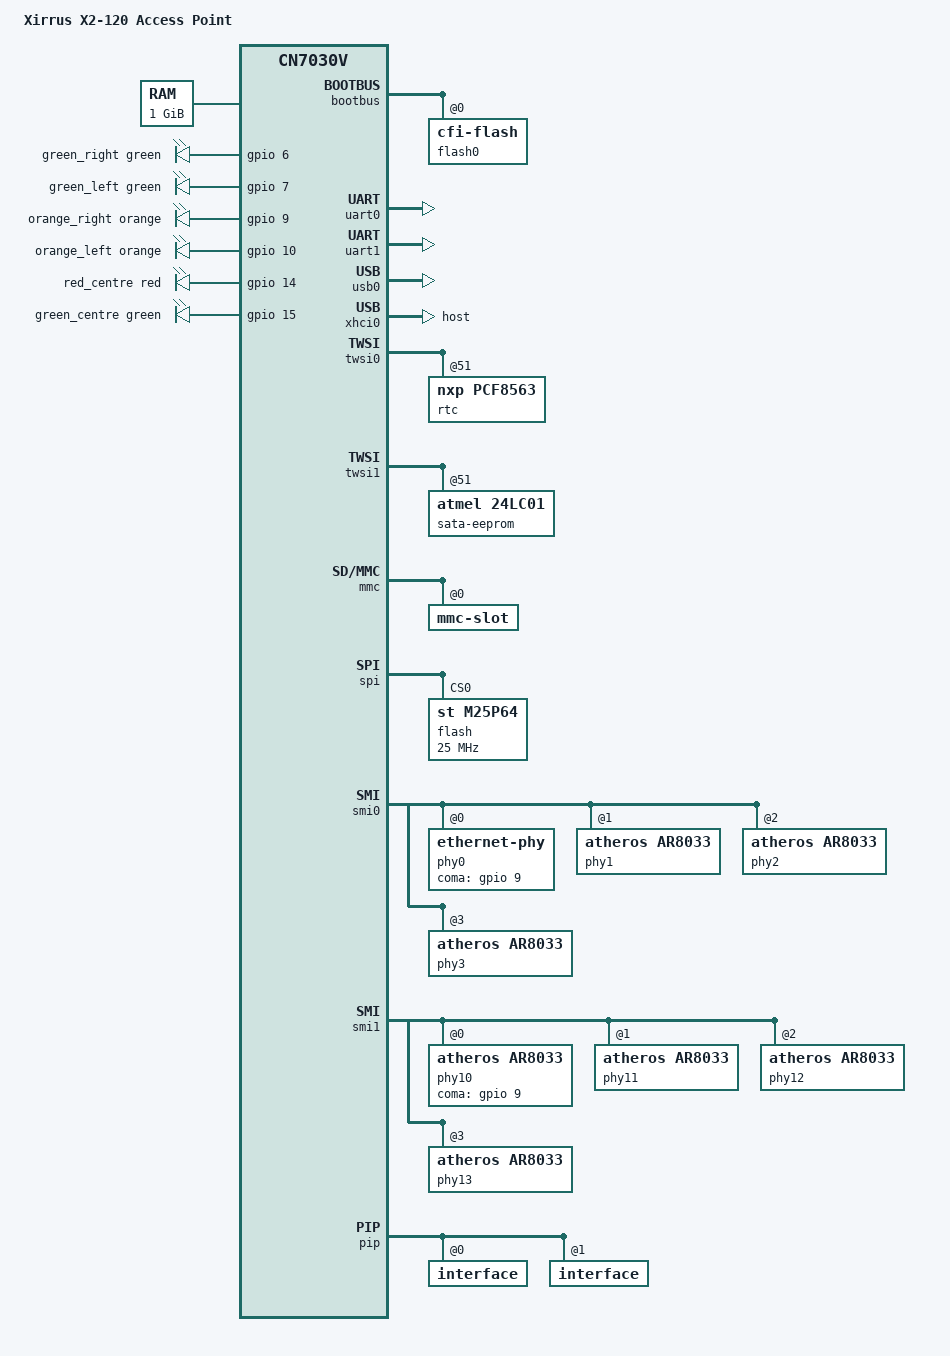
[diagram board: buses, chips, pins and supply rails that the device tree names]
#include "cn71xx.dtsi"

#include <dt-bindings/gpio/gpio.h>
#include <dt-bindings/input/input.h>
#include <dt-bindings/leds/common.h>

/ {
	compatible = "xirrus,x2-120", "cavium,cn7130", "cavium,cn7030v";
	model = "Xirrus X2-120 Access Point";

        memory@0 {
                device_type = "memory";
                reg = <0x0 0x00000000>,
                      <0x0 0x10000000>,
                      <0x0 0x20000000>,
                      <0x0 0x30000000>;
        };

        leds {
		compatible = "gpio-leds";
		status = "okay";

                green_right: led-0 {
                        function = LED_FUNCTION_INDICATOR;
                        color = <LED_COLOR_ID_GREEN>;
                        gpios = <&gpio 6 GPIO_ACTIVE_HIGH>;
			label = "green_right";
                };
                green_left: led-1 {
                        function = LED_FUNCTION_INDICATOR;
                        color = <LED_COLOR_ID_GREEN>;
                        gpios = <&gpio 7 GPIO_ACTIVE_HIGH>;
			label = "green_left";
                };
                orange_right: led-2 {
                        function = LED_FUNCTION_INDICATOR;
                        color = <LED_COLOR_ID_ORANGE>;
                        gpios = <&gpio 9 GPIO_ACTIVE_HIGH>;
			label = "orange_right";
                };
                orange_left: led-3 {
                        function = LED_FUNCTION_INDICATOR;
                        color = <LED_COLOR_ID_ORANGE>;
                        gpios = <&gpio 10 GPIO_ACTIVE_HIGH>;
			label = "orange_left";
                };
                red_centre: led-4 {
                        function = LED_FUNCTION_INDICATOR;
                        color = <LED_COLOR_ID_RED>;
                        gpios = <&gpio 14 GPIO_ACTIVE_HIGH>;
			panic-indicator;
			label = "red_centre";
                };
                green_centre: led-5 {
                        function = LED_FUNCTION_INDICATOR;
                        color = <LED_COLOR_ID_GREEN>;
                        gpios = <&gpio 15 GPIO_ACTIVE_HIGH>;
			linux,default-trigger = "heartbeat";
			label = "green_centre";
                };
        };
};

&bootbus {
	flash0: nor@0,0 {
		compatible = "cfi-flash";
		reg = <0 0 0x800000>;
		#address-cells = <1>;
		#size-cells = <1>;
		/*
		partition@0 {
			label = "bootloader";
			reg = <0 0x200000>;
			read-only;
		};
		partition@200000 {
			label = "kernel";
			reg = <0x200000 0x280000>;
		};
		partition@480000 {
			label = "cramfs";
			reg = <0x400000 0x370000>;
		};
		partition@7f0000 {
			label = "environment";
			reg = <0x7f0000 0x10000>;
			read-only;
		};
		*/
	};
};

&uart0 {
        status = "okay";
};
// not sure if anything is connected to uart1, but the bluetooth radio has to be somewhere....
&uart1 {
	status = "okay";
};

// testing if usb works at all despite there being no accessible usb port
&usb0 {
	status = "okay";
};
&xhci0 {
	status = "okay";
	dr_mode = "host";
};

&twsi0 {
	status = "okay";
	rtc@51 {
		compatible = "nxp,pcf8563";
		reg = <0x51>;
		// FIXME: find gpio pins for any interrupts
	};
};

&twsi1 {
	status = "okay";
	sata-eeprom@51 {
		compatible = "atmel,24lc01";
		reg = <0x51>;
		pagesize = <8>;
	};
};

&mmc {
        status = "okay";

        mmc-slot@0 {
                compatible = "mmc-slot";
                reg = <0>;
                non-removable;
                max-frequency = <26000000>;
                voltage-ranges = <3300 3300>;
                bus-width = <8>;
        };
};

&spi {
	status = "okay";

	flash@0 {
		// FIXME: "Unknown JEDEC bytes"
		#address-cells = <1>;
		#size-cells = <1>;
		compatible = "st,m25p64","spi-flash";
		reg = <0>;
		spi-max-frequency = <25000000>;

		//pagesize = <256>;
		//size = <0x800000>;
		//address-width = <24>;

		/* FIXME!
		partitions {
			compatible = "fixed-partitions";
			#address-cells = <1>;
			#size-cells = <1>;

			partition@0 {
				label = "uboot";
				read-only;
				reg = <0x000000 0x300000>; // 3MB? need to reverse-engineer the partitions
			}
		};
		*/
	};
};

// the following is kinda a guess
// however once booted with this I could determine that there's a phy at dev 1 on mdio bus 0
// and then a second phy at dev 2 on mdio bus 1
// with only the eth0 plugged in, it appears 0-1 is eth0 (it shows the link as up)
// and 1-2 is eth1 (link is down, which it should be due to no link connected)
// so let's see if giving access to all the phys, and then mapping them later on works
// through luck the first phy is connected to pin 6 as an interrupt (the xirrus xarray dts I looked at
// had the second phy connected to pin 6 and the first to 5, but swapping those around got traffic flowing
// on eth0).
// eth1 is untested
// we're getting an oops that interrupt 28 is ignored, which appears to be the mdio bus of the first phy
&smi0 {
	status = "okay";
	phy0: ethernet-phy@0 {
		cavium,qlm-trim = "0,sgmii";
		device_type = "ethernet-phy";
		reg = <0>;
                //interrupt-parent = <&gpio>;
		//interrupts = <6 8>;     /* pin 6, active low */
		coma = <&gpio 9 0>;     /* pin 9, not inverted */
	};
	phy1: ethernet-phy@1 {
		compatible = "atheros,ar8033", "ethernet-phy-ieee802.3-c22";
		device_type = "ethernet-phy";
		reg = <1>;
		//interrupt-parent = <&gpio>;
		//interrupts = <6 8>;     /* pin 6, active low */
	};
	phy2: ethernet-phy@2 {
		compatible = "atheros,ar8033", "ethernet-phy-ieee802.3-c22";
		device_type = "ethernet-phy";
		reg = <2>;
		//interrupt-parent = <&gpio>;
		//interrupts = <6 8>;     /* pin 6, active low */
	};
	phy3: ethernet-phy@3 {
		compatible = "atheros,ar8033", "ethernet-phy-ieee802.3-c22";
		device_type = "ethernet-phy";
		reg = <3>;
		//interrupt-parent = <&gpio>;
		//interrupts = <6 8>;     /* pin 6, active low */
	};
};

&smi1 {
	status = "okay";
	phy10: ethernet-phy@10 {
		cavium,qlm-trim = "0,sgmii";
		compatible = "atheros,ar8033", "ethernet-phy-ieee802.3-c22";
		reg = <0>;
		//interrupt-parent = <&gpio>;
		//interrupts = <5 8>;     /* pin 5, active low */
		coma = <&gpio 9 0>;     /* pin 9, not inverted */
	};
	phy11: ethernet-phy@11 {
		cavium,qlm-trim = "0,sgmii";
		compatible = "atheros,ar8033", "ethernet-phy-ieee802.3-c22";
		reg = <1>;
		//interrupt-parent = <&gpio>;
		//interrupts = <5 8>;     /* pin 5, active low */
	};
	phy12: ethernet-phy@12 {
		cavium,qlm-trim = "0,sgmii";
		compatible = "atheros,ar8033", "ethernet-phy-ieee802.3-c22";
		reg = <2>;
		//interrupt-parent = <&gpio>;
		//interrupts = <5 8>;     /* pin 5, active low */
	};
	phy13: ethernet-phy@13 {
		cavium,qlm-trim = "0,sgmii";
		compatible = "atheros,ar8033", "ethernet-phy-ieee802.3-c22";
		reg = <3>;
		//interrupt-parent = <&gpio>;
		//interrupts = <5 8>;     /* pin 5, active low */
	};
};

// as above, we now have a phy1 and a phy12 with our interfaces
// more testing needed to see if this works
&pip {
	status = "okay";

	interface@0 {
		status = "okay";

		ethernet@0 {
			label = "eth0";
			status = "okay";
			reg = <0x0>; // port
			phy-mode = "sgmii";
			phy-handle = <&phy1>;
			local-mac-address = [ 00 00 00 00 00 00 ];
		};
	};

	interface@1 {
		status = "okay";
		ethernet@0 {
			label = "eth1";
			status = "okay";
			reg = <0x0>; // port
			phy-mode = "sgmii";
			phy-handle = <&phy12>;
			local-mac-address = [ 00 00 00 00 00 00 ];
		};
	};
};
